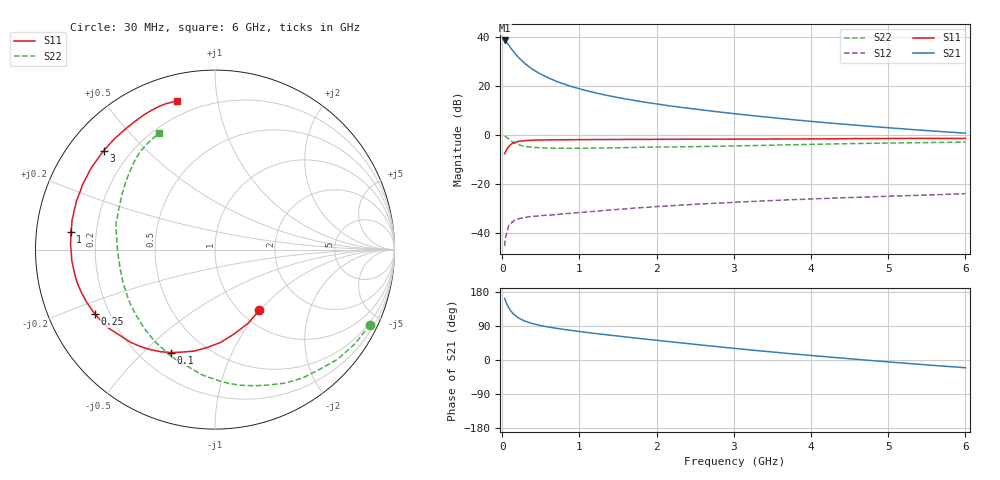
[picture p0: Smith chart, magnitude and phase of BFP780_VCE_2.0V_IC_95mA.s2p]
! Infineon Technologies  Discrete & RF Semiconductors
! BFP780
! VCE =  2.0 V,  IC =  95 mA
! Common Emitter S-Parameters:  Jul 2015
# GHz  S  MA  R  50
!  f  S11  S21  S12  S22
! GHz  MAG  ANG  MAG  ANG  MAG  ANG  MAG  ANG
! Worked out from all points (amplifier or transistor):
!   75 points, 30 MHz to 6 GHz, reference 50 ohm
!   highest |S21| = 38.7 dB at 30 MHz (marker M1)
!   |S21| within 3 dB of that: start of sweep to 107.9 MHz
!   unconditionally stable (mu >= 1): 1.756 GHz to end of sweep
!   at 150 MHz: K = 0.16, MSG = 34.4 dB, |S12| = -34.9 dB
!   at 2.3 GHz: K = 1.11, MAG = 18.0 dB, |S12| = -28.6 dB
!   at 6 GHz: K = 1.35, MAG = 8.8 dB, |S12| = -23.9 dB
!   S11 on the Smith chart (normalised r, x): 30 MHz: 1.21, -0.99; 100 MHz: 0.33, -0.61; 250 MHz: 0.14, -0.25; 1 GHz: 0.11, +0.06; 3 GHz: 0.11, +0.38; 6 GHz: 0.12, +0.77
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0.03  0.4183 -53.9  85.81 162.7  0.0054 72.9  0.9603 -25.8
0.05  0.4818 -77.1  80.05 152.1  0.0089 62.1  0.9164 -41.8
0.06  0.5178 -86.5  76.84 147.6  0.0106 57.1  0.8852 -49.1
0.08  0.5769 -101.5  69.99 139.4  0.0136 53.9  0.8395 -62.4
0.1  0.6233 -113.0  63.24 132.7  0.0148 46.7  0.7906 -73.6
0.12  0.6606 -122.2  57.25 127.1  0.0159 46.1  0.7503 -84.0
0.15  0.6986 -132.3  49.72 120.5  0.018 39.1  0.7002 -96.2
0.2  0.7386 -143.9  40.13 112.4  0.0194 32.7  0.6443 -112.1
0.25  0.7602 -151.9  33.42 106.6  0.0202 29.3  0.611 -123.7
0.3  0.7729 -157.8  28.4 102.1  0.0209 27.2  0.5878 -132.7
0.35  0.7819 -162.3  24.66 98.6  0.0216 26.2  0.5726 -139.7
0.5  0.7944 -171.3  17.57 90.9  0.0228 24.5  0.55 -153.9
0.7  0.801 -179.1  12.62 83.6  0.0239 24.7  0.5392 -165.3
1  0.8096 172.9  8.841 75.1  0.0263 26.0  0.5406 -175.7
1.1  0.8091 170.6  8.017 72.6  0.027 26.4  0.5409 -178.6
1.5  0.8144 162.8  5.851 63.2  0.0305 28.0  0.5516 172.9
2.1  0.8216 152.6  4.108 49.8  0.0354 27.6  0.5704 163.2
3  0.8294 138.5  2.753 30.8  0.0424 25.5  0.6017 149.5
3.1  0.8298 137.1  2.642 28.9  0.0434 24.8  0.6063 148.0
4.1  0.8404 123.4  1.852 10.2  0.0505 20.3  0.6518 135.6
5.1  0.8553 112.4  1.378 -6.6  0.0571 15.2  0.6928 125.0
6  0.8558 104.5  1.097 -20.4  0.0639 10.1  0.7189 115.6
